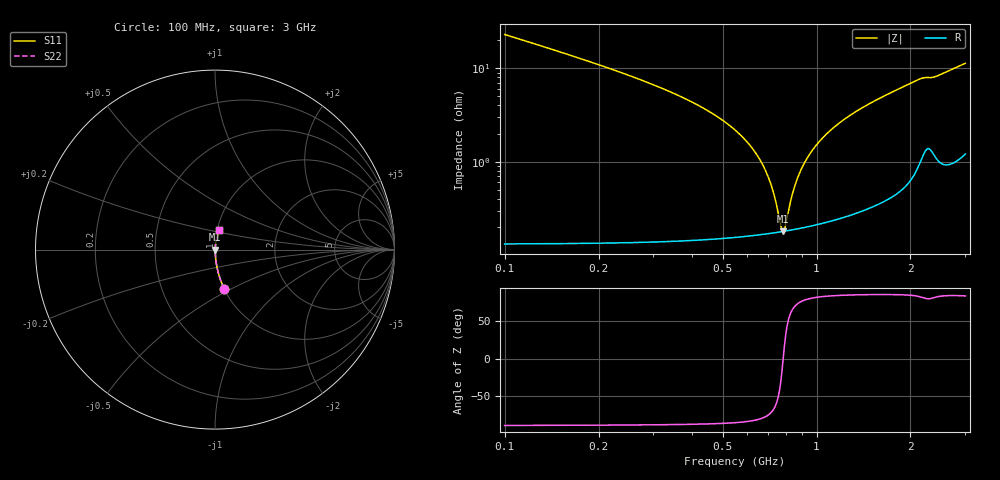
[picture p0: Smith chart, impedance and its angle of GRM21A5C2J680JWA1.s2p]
!Murata Part Number: GRM21A5C2J680JWA1
!These Parameters are Measured in Series Mode Connection
!Data Generated on Mar 30, 2021
!  o--ll--o
!Port1  Port2
!  o------o
!Operation Temp=25[degC], DC Bias Voltage=0[V]
!Freq. Start=100[MHz] Stop=3[GHz] 401[Steps]
# Hz S RI R 50
!Freq.(Hz) S11(Real) S11(Imag) S21(Real) S21(Imag) S12(Real) S12(Imag) S22(Real) S22(Imag)
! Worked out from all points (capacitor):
!   401 points, 100 MHz to 3 GHz, reference 50 ohm
!   read as one part in series: C = 68 pF near 114.5 MHz
!   lowest |Z| = 179 mohm at 781.5 MHz (marker M1)
!   series resonance near 781.7 MHz, so ESL is about 610 pH
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1e8  0.0515 -0.2181  0.9485 0.2181  0.9485 0.2181  0.0515 -0.2181
1.6525e8  0.0192 -0.1326  0.9808 0.1326  0.9808 0.1326  0.0192 -0.1326
2.305e8  0.00984 -0.0917  0.9902 0.0917  0.9902 0.0917  0.00984 -0.0917
4.915e8  0.00232 -0.0287  0.9977 0.0287  0.9977 0.0287  0.00232 -0.0287
5.8575e8  0.00188 -0.0175  0.9981 0.0175  0.9981 0.0175  0.00188 -0.0175
6.4375e8  0.00177 -0.0117  0.9982 0.0117  0.9982 0.0117  0.00177 -0.0117
6.8725e8  0.00174 -0.00774  0.9983 0.00774  0.9983 0.00774  0.00174 -0.00774
7.235e8  0.00174 -0.00464  0.9983 0.00464  0.9983 0.00464  0.00174 -0.00464
7.67e8  0.00177 -0.00114  0.9982 0.00114  0.9982 0.00114  0.00177 -0.00114
7.815e8  0.00179 -1.58e-05  0.9982 1.58e-05  0.9982 1.58e-05  0.00179 -1.58e-05
7.96e8  0.00181 0.00109  0.9982 -0.00109  0.9982 -0.00109  0.00181 0.00109
8.25e8  0.00185 0.00324  0.9981 -0.00324  0.9981 -0.00324  0.00185 0.00324
8.4675e8  0.0019 0.0048  0.9981 -0.0048  0.9981 -0.0048  0.0019 0.0048
8.975e8  0.00201 0.00832  0.998 -0.00832  0.998 -0.00832  0.00201 0.00832
9.7e8  0.00223 0.0131  0.9978 -0.0131  0.9978 -0.0131  0.00223 0.0131
1.0715e9  0.0026 0.0193  0.9974 -0.0193  0.9974 -0.0193  0.0026 0.0193
1.26725e9  0.00354 0.0303  0.9965 -0.0303  0.9965 -0.0303  0.00354 0.0303
1.55e9  0.00542 0.045  0.9946 -0.045  0.9946 -0.045  0.00542 0.045
2.03575e9  0.0117 0.0695  0.9883 -0.0695  0.9883 -0.0695  0.0117 0.0695
2.18075e9  0.0168 0.0755  0.9832 -0.0755  0.9832 -0.0755  0.0168 0.0755
2.5215e9  0.0166 0.0843  0.9834 -0.0843  0.9834 -0.0843  0.0166 0.0843
3e9  0.024 0.1086  0.976 -0.1086  0.976 -0.1086  0.024 0.1086
